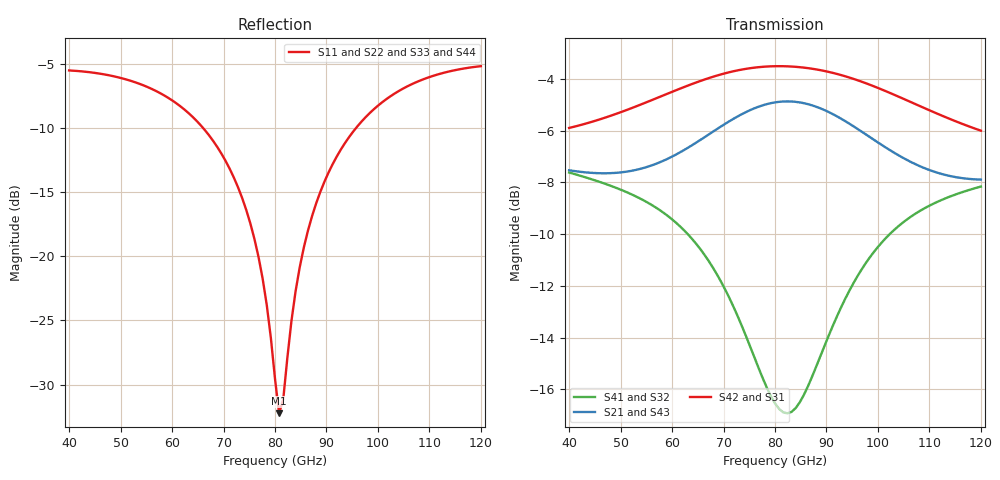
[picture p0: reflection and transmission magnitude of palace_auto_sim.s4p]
#  GHZ S DB R 50
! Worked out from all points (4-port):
!   101 points, 40 GHz to 120 GHz, reference 50 ohm
!   strongest paths, dB at 40 GHz, 60 GHz, 80 GHz, 100 GHz, 120 GHz:
!     S42: -5.9, -4.5, -3.5, -4.3, -6.0
!     S31: -5.9, -4.5, -3.5, -4.3, -6.0
!     S21: -7.5, -7.0, -4.9, -6.5, -7.9
!     S43: -7.5, -7.0, -4.9, -6.5, -7.9
!     S41: -7.6, -9.4, -16.5, -10.5, -8.2
!     S32: -7.6, -9.4, -16.6, -10.5, -8.2
!   lowest |S11| = -32.2 dB at 80.8 GHz (marker M1), VSWR 1.05, Z = 52.5 + j0.445 ohm
!   |S11| at or under -10 dB: 65.98 GHz to 95.79 GHz (29.81 GHz wide, 36.9 % of centre)
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40  -5.54 159.0  -7.53 -47.4  -5.90 -80.7  -7.62 -62.8
    -7.53 -47.4  -5.54 159.0  -7.62 -62.8  -5.90 -80.7
    -5.90 -80.7  -7.62 -62.8  -5.54 159.0  -7.53 -47.4
    -7.62 -62.8  -5.90 -80.7  -7.53 -47.4  -5.54 159.0
69.6  -12.02 107.7  -5.83 -71.3  -3.82 -149.3  -11.87 -110.7
      -5.83 -71.3  -12.03 107.7  -11.87 -110.7  -3.82 -149.3
      -3.82 -149.3  -11.87 -110.7  -12.02 107.7  -5.83 -71.3
      -11.87 -110.7  -3.82 -149.3  -5.83 -71.3  -12.03 107.7
76.8  -20.06 83.7  -5.07 -84.1  -3.55 -169.5  -15.17 -111.5
      -5.07 -84.1  -20.09 83.6  -15.17 -111.5  -3.55 -169.5
      -3.55 -169.5  -15.17 -111.5  -20.07 83.7  -5.07 -84.1
      -15.17 -111.5  -3.55 -169.5  -5.07 -84.1  -20.09 83.6
80.8  -32.23 10.0  -4.89 -92.4  -3.51 179.0  -16.76 -100.3
      -4.89 -92.4  -32.25 9.2  -16.77 -100.3  -3.51 179.0
      -3.51 179.0  -16.77 -100.3  -32.22 9.9  -4.89 -92.4
      -16.76 -100.3  -3.51 179.0  -4.89 -92.4  -32.26 9.1
85.6  -19.33 -88.5  -4.94 -102.6  -3.56 165.3  -16.22 -81.6
      -4.94 -102.6  -19.30 -88.5  -16.23 -81.6  -3.56 165.3
      -3.56 165.3  -16.23 -81.6  -19.32 -88.5  -4.94 -102.6
      -16.22 -81.6  -3.56 165.3  -4.94 -102.6  -19.30 -88.6
92  -12.24 -109.3  -5.44 -115.2  -3.80 147.3  -13.20 -74.8
    -5.44 -115.2  -12.23 -109.3  -13.20 -74.8  -3.80 147.2
    -3.80 147.3  -13.20 -74.8  -12.24 -109.2  -5.44 -115.2
    -13.20 -74.8  -3.80 147.2  -5.44 -115.2  -12.23 -109.3
120  -5.21 -160.0  -7.89 -142.0  -6.00 80.2  -8.16 -118.2
     -7.89 -142.0  -5.20 -160.0  -8.16 -118.1  -6.00 80.2
     -6.00 80.2  -8.16 -118.1  -5.21 -160.0  -7.89 -142.0
     -8.16 -118.2  -6.00 80.2  -7.89 -142.0  -5.20 -160.0
